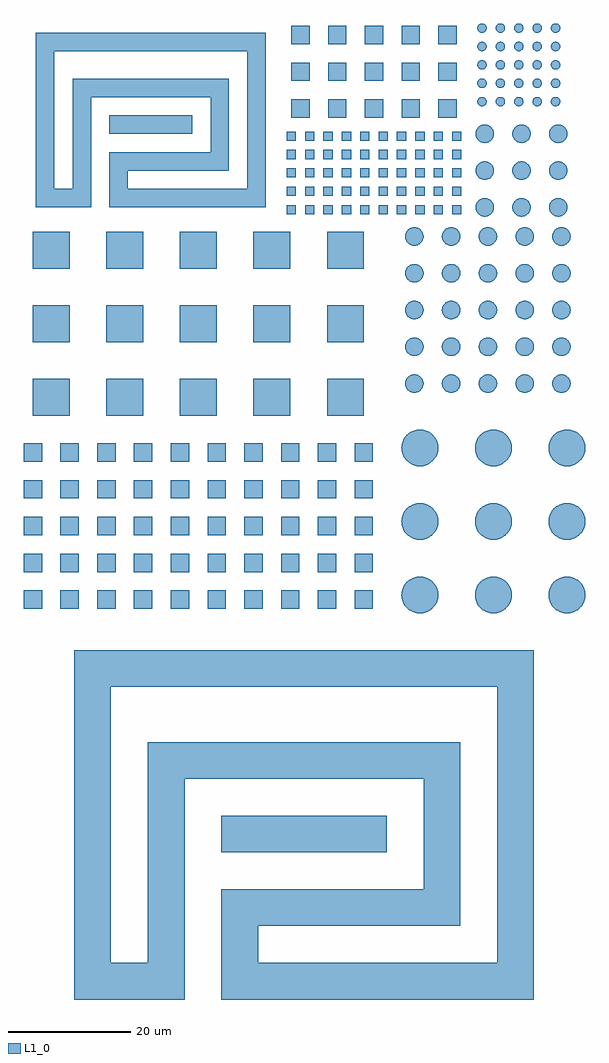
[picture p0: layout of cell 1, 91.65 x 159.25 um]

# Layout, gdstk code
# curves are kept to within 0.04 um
import gdstk
lib = gdstk.Library(unit=1e-6, precision=1e-09)
def R(c, l, rs):  # rectangles x0, y0, x1, y1
    for r in rs: c.add(gdstk.rectangle(r[:2], r[2:], *l))
def A(c, l, x, y, w, h, nx, ny, dx, dy):  # array of equal rectangles
    R(c, l, [(x+i*dx, y+j*dy, x+i*dx+w, y+j*dy+h) for i in range(nx) for j in range(ny)])
def P(c, l, *ps):  # polygons
    for p in ps: c.add(gdstk.Polygon(p, *l))
L1_0 = (1, 0)

c_1 = lib.new_cell('1')
A(c_1, L1_0, 337.838, -847.094, 3, 3, 10, 5, 6, 6)
A(c_1, L1_0, 339.338, -815.594, 6, 6, 5, 3, 12, 12)
A(c_1, L1_0, 380.751, -782.719, 1.5, 1.5, 10, 5, 3, 3)
A(c_1, L1_0, 381.501, -766.969, 3, 3, 5, 3, 6, 6)
P(c_1, L1_0, [(421.626,-765.094),(421.371,-765.049),(421.095,-764.875),(420.921,-764.599),(420.876,-764.344),(420.921,-764.086),(421.095,-763.813),(421.311,-763.663),(421.626,-763.594),(421.944,-763.663),(422.157,-763.813),(422.307,-764.026),(422.376,-764.344),(422.307,-764.659),(422.157,-764.875),(421.884,-765.049)],
  [(419.076,-771.094),(418.563,-771.004),(418.017,-770.653),(417.666,-770.107),(417.576,-769.594),(417.717,-768.958),(418.017,-768.532),(418.563,-768.184),(419.076,-768.094),(419.589,-768.184),(420.138,-768.532),(420.486,-769.081),(420.576,-769.594),(420.486,-770.107),(420.138,-770.653),(419.712,-770.953)],
  [(418.626,-762.094),(418.371,-762.049),(418.095,-761.875),(417.921,-761.599),(417.876,-761.344),(417.921,-761.086),(418.095,-760.813),(418.311,-760.663),(418.626,-760.594),(418.944,-760.663),(419.157,-760.813),(419.307,-761.026),(419.376,-761.344),(419.307,-761.659),(419.157,-761.875),(418.884,-762.049)],
  [(421.626,-756.094),(421.371,-756.049),(421.095,-755.875),(420.921,-755.599),(420.876,-755.344),(420.921,-755.086),(421.095,-754.813),(421.311,-754.663),(421.626,-754.594),(421.944,-754.663),(422.157,-754.813),(422.307,-755.026),(422.376,-755.344),(422.307,-755.659),(422.157,-755.875),(421.884,-756.049)],
  [(418.626,-756.094),(418.371,-756.049),(418.095,-755.875),(417.921,-755.599),(417.876,-755.344),(417.921,-755.086),(418.095,-754.813),(418.311,-754.663),(418.626,-754.594),(418.944,-754.663),(419.157,-754.813),(419.307,-755.026),(419.376,-755.344),(419.307,-755.659),(419.157,-755.875),(418.884,-756.049)],
  [(418.626,-753.094),(418.371,-753.049),(418.095,-752.875),(417.921,-752.599),(417.876,-752.344),(417.921,-752.086),(418.095,-751.813),(418.311,-751.663),(418.626,-751.594),(418.944,-751.663),(419.157,-751.813),(419.307,-752.026),(419.376,-752.344),(419.307,-752.659),(419.157,-752.875),(418.884,-753.049)],
  [(412.626,-762.094),(412.371,-762.049),(412.095,-761.875),(411.921,-761.599),(411.876,-761.344),(411.921,-761.086),(412.095,-760.813),(412.311,-760.663),(412.626,-760.594),(412.944,-760.663),(413.157,-760.813),(413.307,-761.026),(413.376,-761.344),(413.307,-761.659),(413.157,-761.875),(412.884,-762.049)],
  [(415.626,-759.094),(415.371,-759.049),(415.095,-758.875),(414.921,-758.599),(414.876,-758.344),(414.921,-758.086),(415.095,-757.813),(415.311,-757.663),(415.626,-757.594),(415.944,-757.663),(416.157,-757.813),(416.307,-758.026),(416.376,-758.344),(416.307,-758.659),(416.157,-758.875),(415.884,-759.049)],
  [(412.626,-756.094),(412.371,-756.049),(412.095,-755.875),(411.921,-755.599),(411.876,-755.344),(411.921,-755.086),(412.095,-754.813),(412.311,-754.663),(412.626,-754.594),(412.944,-754.663),(413.157,-754.813),(413.307,-755.026),(413.376,-755.344),(413.307,-755.659),(413.157,-755.875),(412.884,-756.049)],
  [(413.076,-777.094),(412.563,-777.004),(412.017,-776.653),(411.666,-776.107),(411.576,-775.594),(411.717,-774.958),(412.017,-774.532),(412.563,-774.184),(413.076,-774.094),(413.589,-774.184),(414.138,-774.532),(414.486,-775.081),(414.576,-775.594),(414.486,-776.107),(414.138,-776.653),(413.712,-776.953)],
  [(418.626,-765.094),(418.371,-765.049),(418.095,-764.875),(417.921,-764.599),(417.876,-764.344),(417.921,-764.086),(418.095,-763.813),(418.311,-763.663),(418.626,-763.594),(418.944,-763.663),(419.157,-763.813),(419.307,-764.026),(419.376,-764.344),(419.307,-764.659),(419.157,-764.875),(418.884,-765.049)],
  [(424.626,-756.094),(424.371,-756.049),(424.095,-755.875),(423.921,-755.599),(423.876,-755.344),(423.921,-755.086),(424.095,-754.813),(424.311,-754.663),(424.626,-754.594),(424.944,-754.663),(425.157,-754.813),(425.307,-755.026),(425.376,-755.344),(425.307,-755.659),(425.157,-755.875),(424.884,-756.049)],
  [(424.626,-753.094),(424.371,-753.049),(424.095,-752.875),(423.921,-752.599),(423.876,-752.344),(423.921,-752.086),(424.095,-751.813),(424.311,-751.663),(424.626,-751.594),(424.944,-751.663),(425.157,-751.813),(425.307,-752.026),(425.376,-752.344),(425.307,-752.659),(425.157,-752.875),(424.884,-753.049)],
  [(424.626,-765.094),(424.371,-765.049),(424.095,-764.875),(423.921,-764.599),(423.876,-764.344),(423.921,-764.086),(424.095,-763.813),(424.311,-763.663),(424.626,-763.594),(424.944,-763.663),(425.157,-763.813),(425.307,-764.026),(425.376,-764.344),(425.307,-764.659),(425.157,-764.875),(424.884,-765.049)],
  [(413.076,-771.094),(412.563,-771.004),(412.017,-770.653),(411.666,-770.107),(411.576,-769.594),(411.717,-768.958),(412.017,-768.532),(412.563,-768.184),(413.076,-768.094),(413.589,-768.184),(414.138,-768.532),(414.486,-769.081),(414.576,-769.594),(414.486,-770.107),(414.138,-770.653),(413.712,-770.953)],
  [(425.076,-777.094),(424.563,-777.004),(424.017,-776.653),(423.666,-776.107),(423.576,-775.594),(423.717,-774.958),(424.017,-774.532),(424.563,-774.184),(425.076,-774.094),(425.589,-774.184),(426.138,-774.532),(426.486,-775.081),(426.576,-775.594),(426.486,-776.107),(426.138,-776.653),(425.712,-776.953)],
  [(415.626,-765.094),(415.371,-765.049),(415.095,-764.875),(414.921,-764.599),(414.876,-764.344),(414.921,-764.086),(415.095,-763.813),(415.311,-763.663),(415.626,-763.594),(415.944,-763.663),(416.157,-763.813),(416.307,-764.026),(416.376,-764.344),(416.307,-764.659),(416.157,-764.875),(415.884,-765.049)],
  [(412.626,-753.094),(412.371,-753.049),(412.095,-752.875),(411.921,-752.599),(411.876,-752.344),(411.921,-752.086),(412.095,-751.813),(412.311,-751.663),(412.626,-751.594),(412.944,-751.663),(413.157,-751.813),(413.307,-752.026),(413.376,-752.344),(413.307,-752.659),(413.157,-752.875),(412.884,-753.049)],
  [(415.626,-756.094),(415.371,-756.049),(415.095,-755.875),(414.921,-755.599),(414.876,-755.344),(414.921,-755.086),(415.095,-754.813),(415.311,-754.663),(415.626,-754.594),(415.944,-754.663),(416.157,-754.813),(416.307,-755.026),(416.376,-755.344),(416.307,-755.659),(416.157,-755.875),(415.884,-756.049)],
  [(412.626,-765.094),(412.371,-765.049),(412.095,-764.875),(411.921,-764.599),(411.876,-764.344),(411.921,-764.086),(412.095,-763.813),(412.311,-763.663),(412.626,-763.594),(412.944,-763.663),(413.157,-763.813),(413.307,-764.026),(413.376,-764.344),(413.307,-764.659),(413.157,-764.875),(412.884,-765.049)],
  [(415.626,-762.094),(415.371,-762.049),(415.095,-761.875),(414.921,-761.599),(414.876,-761.344),(414.921,-761.086),(415.095,-760.813),(415.311,-760.663),(415.626,-760.594),(415.944,-760.663),(416.157,-760.813),(416.307,-761.026),(416.376,-761.344),(416.307,-761.659),(416.157,-761.875),(415.884,-762.049)],
  [(424.626,-759.094),(424.371,-759.049),(424.095,-758.875),(423.921,-758.599),(423.876,-758.344),(423.921,-758.086),(424.095,-757.813),(424.311,-757.663),(424.626,-757.594),(424.944,-757.663),(425.157,-757.813),(425.307,-758.026),(425.376,-758.344),(425.307,-758.659),(425.157,-758.875),(424.884,-759.049)],
  [(418.626,-759.094),(418.371,-759.049),(418.095,-758.875),(417.921,-758.599),(417.876,-758.344),(417.921,-758.086),(418.095,-757.813),(418.311,-757.663),(418.626,-757.594),(418.944,-757.663),(419.157,-757.813),(419.307,-758.026),(419.376,-758.344),(419.307,-758.659),(419.157,-758.875),(418.884,-759.049)],
  [(415.626,-753.094),(415.371,-753.049),(415.095,-752.875),(414.921,-752.599),(414.876,-752.344),(414.921,-752.086),(415.095,-751.813),(415.311,-751.663),(415.626,-751.594),(415.944,-751.663),(416.157,-751.813),(416.307,-752.026),(416.376,-752.344),(416.307,-752.659),(416.157,-752.875),(415.884,-753.049)],
  [(421.626,-753.094),(421.371,-753.049),(421.095,-752.875),(420.921,-752.599),(420.876,-752.344),(420.921,-752.086),(421.095,-751.813),(421.311,-751.663),(421.626,-751.594),(421.944,-751.663),(422.157,-751.813),(422.307,-752.026),(422.376,-752.344),(422.307,-752.659),(422.157,-752.875),(421.884,-753.049)],
  [(424.626,-762.094),(424.371,-762.049),(424.095,-761.875),(423.921,-761.599),(423.876,-761.344),(423.921,-761.086),(424.095,-760.813),(424.311,-760.663),(424.626,-760.594),(424.944,-760.663),(425.157,-760.813),(425.307,-761.026),(425.376,-761.344),(425.307,-761.659),(425.157,-761.875),(424.884,-762.049)],
  [(421.626,-759.094),(421.371,-759.049),(421.095,-758.875),(420.921,-758.599),(420.876,-758.344),(420.921,-758.086),(421.095,-757.813),(421.311,-757.663),(421.626,-757.594),(421.944,-757.663),(422.157,-757.813),(422.307,-758.026),(422.376,-758.344),(422.307,-758.659),(422.157,-758.875),(421.884,-759.049)],
  [(419.076,-777.094),(418.563,-777.004),(418.017,-776.653),(417.666,-776.107),(417.576,-775.594),(417.717,-774.958),(418.017,-774.532),(418.563,-774.184),(419.076,-774.094),(419.589,-774.184),(420.138,-774.532),(420.486,-775.081),(420.576,-775.594),(420.486,-776.107),(420.138,-776.653),(419.712,-776.953)],
  [(412.626,-759.094),(412.371,-759.049),(412.095,-758.875),(411.921,-758.599),(411.876,-758.344),(411.921,-758.086),(412.095,-757.813),(412.311,-757.663),(412.626,-757.594),(412.944,-757.663),(413.157,-757.813),(413.307,-758.026),(413.376,-758.344),(413.307,-758.659),(413.157,-758.875),(412.884,-759.049)],
  [(421.626,-762.094),(421.371,-762.049),(421.095,-761.875),(420.921,-761.599),(420.876,-761.344),(420.921,-761.086),(421.095,-760.813),(421.311,-760.663),(421.626,-760.594),(421.944,-760.663),(422.157,-760.813),(422.307,-761.026),(422.376,-761.344),(422.307,-761.659),(422.157,-761.875),(421.884,-762.049)],
  [(425.076,-771.094),(424.563,-771.004),(424.017,-770.653),(423.666,-770.107),(423.576,-769.594),(423.717,-768.958),(424.017,-768.532),(424.563,-768.184),(425.076,-768.094),(425.589,-768.184),(426.138,-768.532),(426.486,-769.081),(426.576,-769.594),(426.486,-770.107),(426.138,-770.653),(425.712,-770.953)],
  [(425.076,-783.094),(424.563,-783.004),(424.017,-782.653),(423.666,-782.107),(423.576,-781.594),(423.717,-780.958),(424.017,-780.532),(424.563,-780.184),(425.076,-780.094),(425.589,-780.184),(426.138,-780.532),(426.486,-781.081),(426.576,-781.594),(426.486,-782.107),(426.138,-782.653),(425.712,-782.953)],
  [(419.076,-783.094),(418.563,-783.004),(418.017,-782.653),(417.666,-782.107),(417.576,-781.594),(417.717,-780.958),(418.017,-780.532),(418.563,-780.184),(419.076,-780.094),(419.589,-780.184),(420.138,-780.532),(420.486,-781.081),(420.576,-781.594),(420.486,-782.107),(420.138,-782.653),(419.712,-782.953)],
  [(413.076,-783.094),(412.563,-783.004),(412.017,-782.653),(411.666,-782.107),(411.576,-781.594),(411.717,-780.958),(412.017,-780.532),(412.563,-780.184),(413.076,-780.094),(413.589,-780.184),(414.138,-780.532),(414.486,-781.081),(414.576,-781.594),(414.486,-782.107),(414.138,-782.653),(413.712,-782.953)],
  [(419.588,-811.844),(419.078,-811.754),(418.526,-811.406),(418.178,-810.854),(418.088,-810.344),(418.178,-809.828),(418.526,-809.282),(418.958,-808.982),(419.588,-808.844),(420.224,-808.982),(420.65,-809.282),(420.95,-809.708),(421.088,-810.344),(420.95,-810.974),(420.65,-811.406),(420.104,-811.754)],
  [(414.488,-823.844),(413.966,-823.796),(413.462,-823.664),(412.988,-823.442),(412.37,-822.962),(411.89,-822.344),(411.668,-821.87),(411.536,-821.366),(411.488,-820.844),(411.59,-820.064),(411.77,-819.572),(412.034,-819.122),(412.37,-818.72),(412.766,-818.384),(413.462,-818.024),(413.966,-817.886),(414.488,-817.844),(415.01,-817.886),(415.514,-818.024),(416.21,-818.384),(416.612,-818.72),(416.948,-819.122),(417.308,-819.818),(417.446,-820.322),(417.488,-820.844),(417.446,-821.366),(417.308,-821.87),(416.948,-822.566),(416.612,-822.962),(416.21,-823.298),(415.76,-823.562),(415.268,-823.742)],
  [(413.588,-805.844),(413.078,-805.754),(412.526,-805.406),(412.178,-804.854),(412.088,-804.344),(412.178,-803.828),(412.526,-803.282),(412.958,-802.982),(413.588,-802.844),(414.224,-802.982),(414.65,-803.282),(414.95,-803.708),(415.088,-804.344),(414.95,-804.974),(414.65,-805.406),(414.104,-805.754)],
  [(419.588,-793.844),(419.078,-793.754),(418.526,-793.406),(418.178,-792.854),(418.088,-792.344),(418.178,-791.828),(418.526,-791.282),(418.958,-790.982),(419.588,-790.844),(420.224,-790.982),(420.65,-791.282),(420.95,-791.708),(421.088,-792.344),(420.95,-792.974),(420.65,-793.406),(420.104,-793.754)],
  [(413.588,-793.844),(413.078,-793.754),(412.526,-793.406),(412.178,-792.854),(412.088,-792.344),(412.178,-791.828),(412.526,-791.282),(412.958,-790.982),(413.588,-790.844),(414.224,-790.982),(414.65,-791.282),(414.95,-791.708),(415.088,-792.344),(414.95,-792.974),(414.65,-793.406),(414.104,-793.754)],
  [(413.588,-787.844),(413.078,-787.754),(412.526,-787.406),(412.178,-786.854),(412.088,-786.344),(412.178,-785.828),(412.526,-785.282),(412.958,-784.982),(413.588,-784.844),(414.224,-784.982),(414.65,-785.282),(414.95,-785.708),(415.088,-786.344),(414.95,-786.974),(414.65,-787.406),(414.104,-787.754)],
  [(401.588,-805.844),(401.078,-805.754),(400.526,-805.406),(400.178,-804.854),(400.088,-804.344),(400.178,-803.828),(400.526,-803.282),(400.958,-802.982),(401.588,-802.844),(402.224,-802.982),(402.65,-803.282),(402.95,-803.708),(403.088,-804.344),(402.95,-804.974),(402.65,-805.406),(402.104,-805.754)],
  [(407.588,-799.844),(407.078,-799.754),(406.526,-799.406),(406.178,-798.854),(406.088,-798.344),(406.178,-797.828),(406.526,-797.282),(406.958,-796.982),(407.588,-796.844),(408.224,-796.982),(408.65,-797.282),(408.95,-797.708),(409.088,-798.344),(408.95,-798.974),(408.65,-799.406),(408.104,-799.754)],
  [(401.588,-793.844),(401.078,-793.754),(400.526,-793.406),(400.178,-792.854),(400.088,-792.344),(400.178,-791.828),(400.526,-791.282),(400.958,-790.982),(401.588,-790.844),(402.224,-790.982),(402.65,-791.282),(402.95,-791.708),(403.088,-792.344),(402.95,-792.974),(402.65,-793.406),(402.104,-793.754)],
  [(402.488,-835.844),(401.966,-835.796),(401.462,-835.664),(400.988,-835.442),(400.37,-834.962),(399.89,-834.344),(399.668,-833.87),(399.536,-833.366),(399.488,-832.844),(399.59,-832.064),(399.77,-831.572),(400.034,-831.122),(400.37,-830.72),(400.766,-830.384),(401.462,-830.024),(401.966,-829.886),(402.488,-829.844),(403.01,-829.886),(403.514,-830.024),(404.21,-830.384),(404.612,-830.72),(404.948,-831.122),(405.308,-831.818),(405.446,-832.322),(405.488,-832.844),(405.446,-833.366),(405.308,-833.87),(404.948,-834.566),(404.612,-834.962),(404.21,-835.298),(403.76,-835.562),(403.268,-835.742)],
  [(413.588,-811.844),(413.078,-811.754),(412.526,-811.406),(412.178,-810.854),(412.088,-810.344),(412.178,-809.828),(412.526,-809.282),(412.958,-808.982),(413.588,-808.844),(414.224,-808.982),(414.65,-809.282),(414.95,-809.708),(415.088,-810.344),(414.95,-810.974),(414.65,-811.406),(414.104,-811.754)],
  [(425.588,-793.844),(425.078,-793.754),(424.526,-793.406),(424.178,-792.854),(424.088,-792.344),(424.178,-791.828),(424.526,-791.282),(424.958,-790.982),(425.588,-790.844),(426.224,-790.982),(426.65,-791.282),(426.95,-791.708),(427.088,-792.344),(426.95,-792.974),(426.65,-793.406),(426.104,-793.754)],
  [(425.588,-787.844),(425.078,-787.754),(424.526,-787.406),(424.178,-786.854),(424.088,-786.344),(424.178,-785.828),(424.526,-785.282),(424.958,-784.982),(425.588,-784.844),(426.224,-784.982),(426.65,-785.282),(426.95,-785.708),(427.088,-786.344),(426.95,-786.974),(426.65,-787.406),(426.104,-787.754)],
  [(425.588,-811.844),(425.078,-811.754),(424.526,-811.406),(424.178,-810.854),(424.088,-810.344),(424.178,-809.828),(424.526,-809.282),(424.958,-808.982),(425.588,-808.844),(426.224,-808.982),(426.65,-809.282),(426.95,-809.708),(427.088,-810.344),(426.95,-810.974),(426.65,-811.406),(426.104,-811.754)],
  [(402.488,-823.844),(401.966,-823.796),(401.462,-823.664),(400.988,-823.442),(400.37,-822.962),(399.89,-822.344),(399.668,-821.87),(399.536,-821.366),(399.488,-820.844),(399.59,-820.064),(399.77,-819.572),(400.034,-819.122),(400.37,-818.72),(400.766,-818.384),(401.462,-818.024),(401.966,-817.886),(402.488,-817.844),(403.01,-817.886),(403.514,-818.024),(404.21,-818.384),(404.612,-818.72),(404.948,-819.122),(405.308,-819.818),(405.446,-820.322),(405.488,-820.844),(405.446,-821.366),(405.308,-821.87),(404.948,-822.566),(404.612,-822.962),(404.21,-823.298),(403.76,-823.562),(403.268,-823.742)],
  [(426.488,-835.844),(425.966,-835.796),(425.462,-835.664),(424.988,-835.442),(424.37,-834.962),(423.89,-834.344),(423.668,-833.87),(423.536,-833.366),(423.488,-832.844),(423.59,-832.064),(423.77,-831.572),(424.034,-831.122),(424.37,-830.72),(424.766,-830.384),(425.462,-830.024),(425.966,-829.886),(426.488,-829.844),(427.01,-829.886),(427.514,-830.024),(428.21,-830.384),(428.612,-830.72),(428.948,-831.122),(429.308,-831.818),(429.446,-832.322),(429.488,-832.844),(429.446,-833.366),(429.308,-833.87),(428.948,-834.566),(428.612,-834.962),(428.21,-835.298),(427.76,-835.562),(427.268,-835.742)],
  [(407.588,-811.844),(407.078,-811.754),(406.526,-811.406),(406.178,-810.854),(406.088,-810.344),(406.178,-809.828),(406.526,-809.282),(406.958,-808.982),(407.588,-808.844),(408.224,-808.982),(408.65,-809.282),(408.95,-809.708),(409.088,-810.344),(408.95,-810.974),(408.65,-811.406),(408.104,-811.754)],
  [(401.588,-787.844),(401.078,-787.754),(400.526,-787.406),(400.178,-786.854),(400.088,-786.344),(400.178,-785.828),(400.526,-785.282),(400.958,-784.982),(401.588,-784.844),(402.224,-784.982),(402.65,-785.282),(402.95,-785.708),(403.088,-786.344),(402.95,-786.974),(402.65,-787.406),(402.104,-787.754)],
  [(407.588,-793.844),(407.078,-793.754),(406.526,-793.406),(406.178,-792.854),(406.088,-792.344),(406.178,-791.828),(406.526,-791.282),(406.958,-790.982),(407.588,-790.844),(408.224,-790.982),(408.65,-791.282),(408.95,-791.708),(409.088,-792.344),(408.95,-792.974),(408.65,-793.406),(408.104,-793.754)],
  [(401.588,-811.844),(401.078,-811.754),(400.526,-811.406),(400.178,-810.854),(400.088,-810.344),(400.178,-809.828),(400.526,-809.282),(400.958,-808.982),(401.588,-808.844),(402.224,-808.982),(402.65,-809.282),(402.95,-809.708),(403.088,-810.344),(402.95,-810.974),(402.65,-811.406),(402.104,-811.754)],
  [(407.588,-805.844),(407.078,-805.754),(406.526,-805.406),(406.178,-804.854),(406.088,-804.344),(406.178,-803.828),(406.526,-803.282),(406.958,-802.982),(407.588,-802.844),(408.224,-802.982),(408.65,-803.282),(408.95,-803.708),(409.088,-804.344),(408.95,-804.974),(408.65,-805.406),(408.104,-805.754)],
  [(425.588,-799.844),(425.078,-799.754),(424.526,-799.406),(424.178,-798.854),(424.088,-798.344),(424.178,-797.828),(424.526,-797.282),(424.958,-796.982),(425.588,-796.844),(426.224,-796.982),(426.65,-797.282),(426.95,-797.708),(427.088,-798.344),(426.95,-798.974),(426.65,-799.406),(426.104,-799.754)],
  [(413.588,-799.844),(413.078,-799.754),(412.526,-799.406),(412.178,-798.854),(412.088,-798.344),(412.178,-797.828),(412.526,-797.282),(412.958,-796.982),(413.588,-796.844),(414.224,-796.982),(414.65,-797.282),(414.95,-797.708),(415.088,-798.344),(414.95,-798.974),(414.65,-799.406),(414.104,-799.754)],
  [(407.588,-787.844),(407.078,-787.754),(406.526,-787.406),(406.178,-786.854),(406.088,-786.344),(406.178,-785.828),(406.526,-785.282),(406.958,-784.982),(407.588,-784.844),(408.224,-784.982),(408.65,-785.282),(408.95,-785.708),(409.088,-786.344),(408.95,-786.974),(408.65,-787.406),(408.104,-787.754)],
  [(419.588,-787.844),(419.078,-787.754),(418.526,-787.406),(418.178,-786.854),(418.088,-786.344),(418.178,-785.828),(418.526,-785.282),(418.958,-784.982),(419.588,-784.844),(420.224,-784.982),(420.65,-785.282),(420.95,-785.708),(421.088,-786.344),(420.95,-786.974),(420.65,-787.406),(420.104,-787.754)],
  [(425.588,-805.844),(425.078,-805.754),(424.526,-805.406),(424.178,-804.854),(424.088,-804.344),(424.178,-803.828),(424.526,-803.282),(424.958,-802.982),(425.588,-802.844),(426.224,-802.982),(426.65,-803.282),(426.95,-803.708),(427.088,-804.344),(426.95,-804.974),(426.65,-805.406),(426.104,-805.754)],
  [(419.588,-799.844),(419.078,-799.754),(418.526,-799.406),(418.178,-798.854),(418.088,-798.344),(418.178,-797.828),(418.526,-797.282),(418.958,-796.982),(419.588,-796.844),(420.224,-796.982),(420.65,-797.282),(420.95,-797.708),(421.088,-798.344),(420.95,-798.974),(420.65,-799.406),(420.104,-799.754)],
  [(414.488,-835.844),(413.966,-835.796),(413.462,-835.664),(412.988,-835.442),(412.37,-834.962),(411.89,-834.344),(411.668,-833.87),(411.536,-833.366),(411.488,-832.844),(411.59,-832.064),(411.77,-831.572),(412.034,-831.122),(412.37,-830.72),(412.766,-830.384),(413.462,-830.024),(413.966,-829.886),(414.488,-829.844),(415.01,-829.886),(415.514,-830.024),(416.21,-830.384),(416.612,-830.72),(416.948,-831.122),(417.308,-831.818),(417.446,-832.322),(417.488,-832.844),(417.446,-833.366),(417.308,-833.87),(416.948,-834.566),(416.612,-834.962),(416.21,-835.298),(415.76,-835.562),(415.268,-835.742)],
  [(401.588,-799.844),(401.078,-799.754),(400.526,-799.406),(400.178,-798.854),(400.088,-798.344),(400.178,-797.828),(400.526,-797.282),(400.958,-796.982),(401.588,-796.844),(402.224,-796.982),(402.65,-797.282),(402.95,-797.708),(403.088,-798.344),(402.95,-798.974),(402.65,-799.406),(402.104,-799.754)],
  [(419.588,-805.844),(419.078,-805.754),(418.526,-805.406),(418.178,-804.854),(418.088,-804.344),(418.178,-803.828),(418.526,-803.282),(418.958,-802.982),(419.588,-802.844),(420.224,-802.982),(420.65,-803.282),(420.95,-803.708),(421.088,-804.344),(420.95,-804.974),(420.65,-805.406),(420.104,-805.754)],
  [(426.488,-823.844),(425.966,-823.796),(425.462,-823.664),(424.988,-823.442),(424.37,-822.962),(423.89,-822.344),(423.668,-821.87),(423.536,-821.366),(423.488,-820.844),(423.59,-820.064),(423.77,-819.572),(424.034,-819.122),(424.37,-818.72),(424.766,-818.384),(425.462,-818.024),(425.966,-817.886),(426.488,-817.844),(427.01,-817.886),(427.514,-818.024),(428.21,-818.384),(428.612,-818.72),(428.948,-819.122),(429.308,-819.818),(429.446,-820.322),(429.488,-820.844),(429.446,-821.366),(429.308,-821.87),(428.948,-822.566),(428.612,-822.962),(428.21,-823.298),(427.76,-823.562),(427.268,-823.742)],
  [(426.488,-847.844),(425.966,-847.796),(425.462,-847.664),(424.988,-847.442),(424.37,-846.962),(423.89,-846.344),(423.668,-845.87),(423.536,-845.366),(423.488,-844.844),(423.59,-844.064),(423.77,-843.572),(424.034,-843.122),(424.37,-842.72),(424.766,-842.384),(425.462,-842.024),(425.966,-841.886),(426.488,-841.844),(427.01,-841.886),(427.514,-842.024),(428.21,-842.384),(428.612,-842.72),(428.948,-843.122),(429.308,-843.818),(429.446,-844.322),(429.488,-844.844),(429.446,-845.366),(429.308,-845.87),(428.948,-846.566),(428.612,-846.962),(428.21,-847.298),(427.76,-847.562),(427.268,-847.742)],
  [(414.488,-847.844),(413.966,-847.796),(413.462,-847.664),(412.988,-847.442),(412.37,-846.962),(411.89,-846.344),(411.668,-845.87),(411.536,-845.366),(411.488,-844.844),(411.59,-844.064),(411.77,-843.572),(412.034,-843.122),(412.37,-842.72),(412.766,-842.384),(413.462,-842.024),(413.966,-841.886),(414.488,-841.844),(415.01,-841.886),(415.514,-842.024),(416.21,-842.384),(416.612,-842.72),(416.948,-843.122),(417.308,-843.818),(417.446,-844.322),(417.488,-844.844),(417.446,-845.366),(417.308,-845.87),(416.948,-846.566),(416.612,-846.962),(416.21,-847.298),(415.76,-847.562),(415.268,-847.742)],
  [(402.488,-847.844),(401.966,-847.796),(401.462,-847.664),(400.988,-847.442),(400.37,-846.962),(399.89,-846.344),(399.668,-845.87),(399.536,-845.366),(399.488,-844.844),(399.59,-844.064),(399.77,-843.572),(400.034,-843.122),(400.37,-842.72),(400.766,-842.384),(401.462,-842.024),(401.966,-841.886),(402.488,-841.844),(403.01,-841.886),(403.514,-842.024),(404.21,-842.384),(404.612,-842.72),(404.948,-843.122),(405.308,-843.818),(405.446,-844.322),(405.488,-844.844),(405.446,-845.366),(405.308,-845.87),(404.948,-846.566),(404.612,-846.962),(404.21,-847.298),(403.76,-847.562),(403.268,-847.742)])
c_1.add(gdstk.FlexPath([(365.338,-768.094),(351.838,-768.094)], 3, ends="flush", simple_path=True, layer=1, datatype=0))  # L1_0
c_1.add(gdstk.FlexPath([(339.838,-754.594),(375.838,-754.594),(375.838,-780.094),(353.338,-780.094),(353.338,-774.094),(369.838,-774.094),(369.838,-762.094),(347.338,-762.094),(347.338,-780.094),(341.338,-780.094),(341.338,-753.094)], 3, ends="flush", simple_path=True, layer=1, datatype=0))  # L1_0
c_1.add(gdstk.FlexPath([(397.088,-883.844),(370.088,-883.844)], 6, ends="flush", simple_path=True, layer=1, datatype=0))  # L1_0
c_1.add(gdstk.FlexPath([(346.088,-856.844),(418.088,-856.844),(418.088,-907.844),(373.088,-907.844),(373.088,-895.844),(406.088,-895.844),(406.088,-871.844),(361.088,-871.844),(361.088,-907.844),(349.088,-907.844),(349.088,-853.844)], 6, ends="flush", simple_path=True, layer=1, datatype=0))  # L1_0

lib.write_gds('1.gds')
